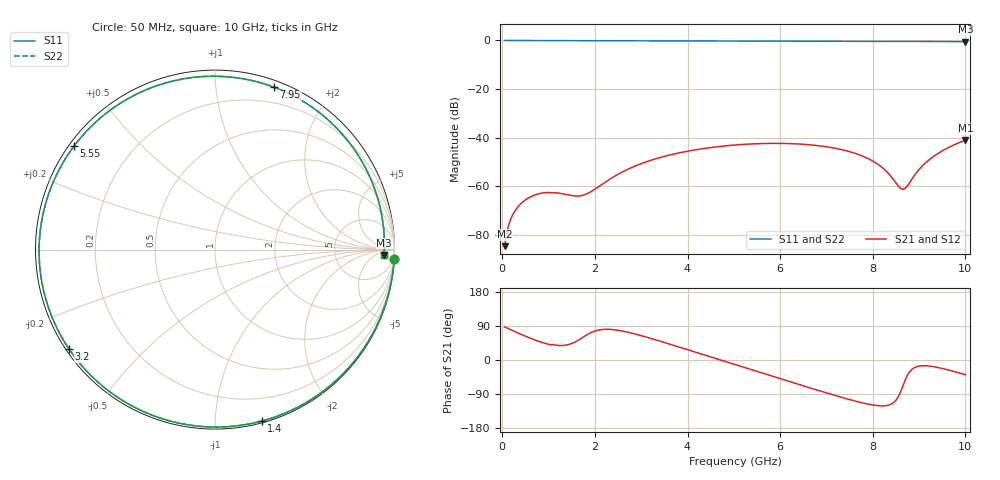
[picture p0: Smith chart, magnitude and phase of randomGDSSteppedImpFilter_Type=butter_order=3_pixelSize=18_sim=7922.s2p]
! freq	dB(S11)	phase(S11)	dB(S12)	phase(S12)
!  dB(S21)	phase(S21)	dB(S22)	phase(S22)
!S-par simulation data
#  GHz  S  DB  R 50
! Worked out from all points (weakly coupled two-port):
!   200 points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, 50 MHz to 10 GHz, reference 50 ohm
!   highest |S21| = -41.01 dB at 10 GHz (marker M1); lowest = -84.6 dB at 50 MHz (marker M2)
!   lowest |S11| = -0.5 dB at 10 GHz (marker M3), VSWR 33.83, Z = 1.31e+03 - j706 ohm
!   |S11| at or under -10 dB: nowhere
!   |S22| runs from -0.5 to 0.0 dB; largest |S21 - S12| = 0
!   S11 on the Smith chart (normalised r, x): 50 MHz: 0, -40; 1.4 GHz: 0.01, -1.31; 3.2 GHz: 0.01, -0.31; 5.55 GHz: 0.01, +0.33; 7.95 GHz: 0.06, +1.43; 10 GHz: 26, -14
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0.05  -0.00 -2.9  -84.58 87.2  -84.58 87.2  -0.00 -2.9
0.1  -0.01 -5.7  -78.59 84.4  -78.59 84.4  -0.01 -5.7
0.15  -0.01 -8.6  -75.12 81.6  -75.12 81.6  -0.01 -8.6
0.25  -0.02 -14.2  -70.83 76.0  -70.83 76.0  -0.02 -14.2
0.55  -0.04 -31.0  -64.91 60.2  -64.91 60.2  -0.04 -31.0
0.95  -0.06 -52.4  -62.57 43.1  -62.57 43.1  -0.06 -52.4
1.4  -0.09 -74.7  -63.40 39.9  -63.40 39.9  -0.09 -74.8
1.75  -0.10 -90.7  -63.61 60.6  -63.61 60.6  -0.10 -90.8
2.5  -0.12 -121.2  -55.02 78.4  -55.02 78.4  -0.12 -121.2
3.2  -0.14 -145.9  -49.32 57.2  -49.32 57.2  -0.14 -145.9
3.4  -0.15 -152.4  -48.17 49.9  -48.17 49.9  -0.15 -152.4
4.2  -0.17 -177.1  -44.87 19.5  -44.87 19.5  -0.17 -177.1
5.05  -0.20 158.1  -42.95 -13.1  -42.95 -13.1  -0.20 158.1
5.55  -0.22 143.8  -42.42 -32.2  -42.42 -32.2  -0.22 143.8
6.7  -0.27 109.8  -43.02 -75.8  -43.02 -75.8  -0.27 109.8
7.4  -0.30 88.0  -45.22 -101.1  -45.22 -101.1  -0.30 88.0
7.95  -0.33 70.0  -49.06 -117.6  -49.06 -117.6  -0.33 70.1
8.35  -0.35 56.6  -54.92 -118.8  -54.92 -118.8  -0.35 56.6
8.65  -0.37 46.2  -61.28 -68.9  -61.28 -68.9  -0.37 46.3
9  -0.40 33.9  -53.06 -16.0  -53.06 -16.0  -0.40 34.1
9.25  -0.42 25.1  -48.57 -16.5  -48.57 -16.5  -0.42 25.2
10  -0.51 -1.8  -41.01 -39.0  -41.01 -39.0  -0.51 -1.7
